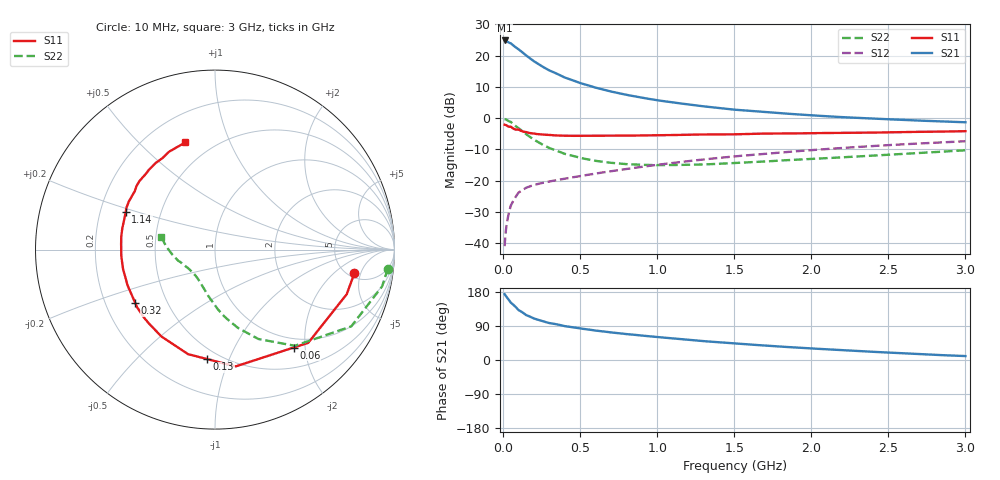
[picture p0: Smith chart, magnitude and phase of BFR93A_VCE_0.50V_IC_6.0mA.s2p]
! Infineon Technologies  Discrete & RF Semiconductors
! BFR93A
! VCE = 0.50 V,  IC =  6.0 mA
! Common Emitter S-Parameters:  Nov 2015
# GHz  S  MA  R  50
!  f  S11  S21  S12  S22
! GHz  MAG  ANG  MAG  ANG  MAG  ANG  MAG  ANG
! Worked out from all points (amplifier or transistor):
!   180 points, 10 MHz to 3 GHz, reference 50 ohm
!   highest |S21| = 24.9 dB at 10 MHz (marker M1)
!   |S21| within 3 dB of that: start of sweep to 105.2 MHz
!   unconditionally stable (mu >= 1): 606.8 MHz to end of sweep
!   at 160 MHz: K = 0.40, MSG = 20.9 dB, |S12| = -22.0 dB
!   at 1.22 GHz: K = 1.16, MAG = 6.5 dB, |S12| = -13.6 dB
!   at 3 GHz: K = 1.06, MAG = 1.6 dB, |S12| = -7.4 dB
!   S11 on the Smith chart (normalised r, x): 10 MHz: 5.69, -3.90; 60 MHz: 0.83, -1.78; 130 MHz: 0.43, -0.83; 320 MHz: 0.33, -0.27; 1.14 GHz: 0.31, +0.18; 3 GHz: 0.36, +0.70
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0.01  0.7878 -9.5  17.5 173.7  0.009 84.9  0.9685 -6.3
0.02  0.7749 -18.7  17.23 167.6  0.0176 80.2  0.9536 -12.4
0.05  0.7346 -45.0  15.75 151.5  0.0401 67.7  0.8713 -29.4
0.06  0.7001 -51.2  15.01 148.2  0.0447 63.7  0.8287 -32.8
0.1  0.6609 -80.0  12.69 131.8  0.0645 53.6  0.6965 -50.3
0.13  0.6115 -94.1  11.02 124.5  0.0721 49.0  0.6064 -57.8
0.15  0.6016 -104.4  10.03 118.4  0.0774 46.4  0.5536 -64.1
0.2  0.5688 -121.6  8.145 109.5  0.0858 43.2  0.4542 -73.7
0.26  0.5478 -136.1  6.59 101.7  0.0929 41.7  0.3738 -82.3
0.3  0.5401 -143.4  5.81 97.5  0.0973 41.5  0.3342 -87.1
0.32  0.5347 -146.2  5.535 96.2  0.0994 41.7  0.3206 -88.7
0.4  0.5263 -157.7  4.472 89.4  0.1079 42.5  0.2695 -96.8
0.52  0.5227 -169.7  3.535 82.2  0.1211 44.2  0.2269 -105.6
0.6  0.5233 -176.1  3.083 77.7  0.1303 45.3  0.2082 -111.3
0.7  0.5235 177.8  2.671 72.8  0.1421 46.5  0.1937 -117.3
0.8  0.5273 172.2  2.365 68.4  0.1541 47.5  0.1845 -123.2
1.02  0.5326 161.8  1.906 59.8  0.1824 48.1  0.1777 -133.9
1.14  0.5405 157.0  1.737 55.6  0.1979 48.0  0.179 -139.2
1.52  0.5541 143.6  1.358 43.2  0.2474 46.5  0.1933 -153.5
2.02  0.5773 129.3  1.105 30.1  0.3113 42.4  0.2246 -167.7
2.52  0.5962 117.0  0.957 19.1  0.3737 36.5  0.2623 179.1
3  0.6199 105.5  0.861 10.4  0.4283 30.1  0.3072 166.7
